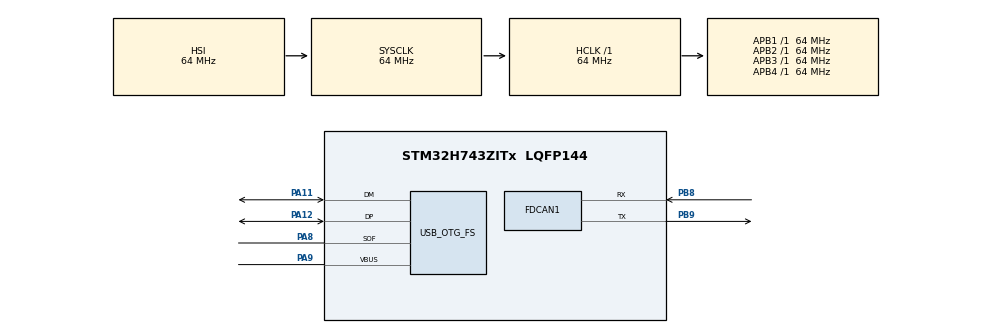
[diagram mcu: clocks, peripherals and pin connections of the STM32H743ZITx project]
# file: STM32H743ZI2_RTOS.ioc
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FDCAN1.AutoRetransmission=ENABLE
FDCAN1.DataPrescaler=2
FDCAN1.DataSyncJumpWidth=12
FDCAN1.DataTimeSeg1=12
FDCAN1.DataTimeSeg2=12
FDCAN1.FrameFormat=FDCAN_FRAME_CLASSIC
FDCAN1.Mode=FDCAN_MODE_NORMAL
FDCAN1.NominalPrescaler=1
FDCAN1.NominalSyncJumpWidth=13
FDCAN1.NominalTimeSeg1=174
FDCAN1.NominalTimeSeg2=25
FDCAN1.RxBufferSize=FDCAN_DATA_BYTES_12
FDCAN1.RxBuffersNbr=1
FDCAN1.RxFifo0ElmtsNbr=1
FDCAN1.StdFiltersNbr=1
FDCAN1.TxBuffersNbr=1
FDCAN1.TxElmtSize=FDCAN_DATA_BYTES_12
FDCAN1.TxEventsNbr=0
FREERTOS.Tasks01=defaultTask,24,128,StartDefaultTask,Default,NULL,Dynamic,NULL,NULL
FREERTOS.configUSE_NEWLIB_REENTRANT=1
Mcu.Family=STM32H7
Mcu.Name=STM32H743ZITx
Mcu.Package=LQFP144
NVIC.FDCAN1_IT0_IRQn=true\:5\:0\:false\:false\:true\:true\:true\:true\:true
NVIC.FDCAN1_IT1_IRQn=true\:5\:0\:false\:false\:true\:true\:true\:true\:true
NVIC.OTG_FS_IRQn=true\:5\:0\:false\:false\:true\:true\:false\:true\:true
NVIC.PriorityGroup=NVIC_PRIORITYGROUP_4
NVIC.TIM1_UP_IRQn=true\:15\:0\:false\:false\:true\:false\:false\:true\:true
NVIC.TimeBase=TIM1_UP_IRQn
NVIC.TimeBaseIP=TIM1
PA11.Mode=Device_Only
PA11.Signal=USB_OTG_FS_DM
PA12.Mode=Device_Only
PA12.Signal=USB_OTG_FS_DP
PA8.Mode=Activate_SOF_FS
PA8.Signal=USB_OTG_FS_SOF
PA9.Mode=Activate_VBUS
PA9.Signal=USB_OTG_FS_VBUS
PB8.GPIO_PuPd=GPIO_NOPULL
PB8.GPIO_Speed=GPIO_SPEED_FREQ_LOW
PB8.Mode=FDCAN_Activate
PB8.Signal=FDCAN1_RX
PB9.GPIO_PuPd=GPIO_NOPULL
PB9.GPIO_Speed=GPIO_SPEED_FREQ_LOW
PB9.Mode=FDCAN_Activate
PB9.Signal=FDCAN1_TX
ProjectManager.HeapSize=0x200
ProjectManager.StackSize=0x1000
ProjectManager.TargetToolchain=STM32CubeIDE
RCC.ADCFreq_Value=129000000
RCC.APB1Freq_Value=64000000
RCC.APB2Freq_Value=64000000
RCC.APB3Freq_Value=64000000
RCC.APB4Freq_Value=64000000
RCC.CortexFreq_Value=64000000
RCC.DIVM1=4
RCC.DIVN1=9
RCC.DIVQ1=3
RCC.HCLKFreq_Value=64000000
RCC.PLL2FRACN=0
RCC.PLL3FRACN=0
RCC.PLLFRACN=3072
RCC.PWR_Regulator_Voltage_Scale=PWR_REGULATOR_VOLTAGE_SCALE0
RCC.SYSCLKFreq_VALUE=64000000
RCC.USBCLockSelection=RCC_USBCLKSOURCE_HSI48
RCC.USBFreq_Value=48000000
USB_DEVICE.CLASS_NAME_FS=CDC
USB_DEVICE.VirtualMode-CDC_FS=Cdc
USB_DEVICE.VirtualModeFS=Cdc_FS
USB_OTG_FS.VirtualMode=Device_Only
VP_FREERTOS_VS_CMSIS_V2.Mode=CMSIS_V2
VP_SYS_VS_tim1.Mode=TIM1
VP_USB_DEVICE_VS_USB_DEVICE_CDC_FS.Mode=CDC_FS
board=custom

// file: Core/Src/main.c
/* USER CODE BEGIN Header */
/**
  ******************************************************************************
  * @file           : main.c
  * @brief          : Main program body
  ******************************************************************************
  * @attention
  *
  * <h2><center>&copy; Copyright (c) 2024 STMicroelectronics.
  * All rights reserved.</center></h2>
  *
  * This software component is licensed by ST under Ultimate Liberty license
  * SLA0044, the "License"; You may not use this file except in compliance with
  * the License. You may obtain a copy of the License at:
  *                             www.st.com/SLA0044
  *
  ******************************************************************************
  */
/* USER CODE END Header */
#include "main.h"
#include "cmsis_os.h"
#include "usb_device.h"
#include "usb_device.h"

/* USER CODE BEGIN Includes */
#include "usbd_cdc_if.h"
/* USER CODE END Includes */

FDCAN_HandleTypeDef hfdcan1;

/* Definitions for defaultTask */
osThreadId_t defaultTaskHandle;
const osThreadAttr_t defaultTask_attributes = {
  .name = "defaultTask",
  .stack_size = 128 * 4,
  .priority = (osPriority_t) osPriorityNormal,
};
/* USER CODE BEGIN PV */
FDCAN_FilterTypeDef sFilterConfig;
FDCAN_TxHeaderTypeDef TxHeader;
FDCAN_RxHeaderTypeDef RxHeader;
uint8_t TxData_Node1_To_Node2[] = {0x10, 0x32, 0x54, 0x76, 0x98, 0x00, 0x11, 0x22, 0x33, 0x44, 0x55, 0x66};
uint8_t RxData_From_Node2[12];
uint8_t RxData[16];
/* USER CODE END PV */

void SystemClock_Config(void);
static void MX_GPIO_Init(void);
static void MX_FDCAN1_Init(void);
void StartDefaultTask(void *argument);

int main(void)
{

  /* MCU Configuration--------------------------------------------------------*/

  /* Reset of all peripherals, Initializes the Flash interface and the Systick. */
  HAL_Init();

  /* Configure the system clock */
  SystemClock_Config();

  /* Initialize all configured peripherals */
  MX_GPIO_Init();
  MX_FDCAN1_Init();
  /* USER CODE BEGIN 2 */
  /* Configure Tx buffer message */
   TxHeader.Identifier = 0x1;
   TxHeader.IdType = FDCAN_STANDARD_ID;
   TxHeader.TxFrameType = FDCAN_DATA_FRAME;
   TxHeader.DataLength = FDCAN_DLC_BYTES_12;
   TxHeader.ErrorStateIndicator = FDCAN_ESI_ACTIVE;
   TxHeader.BitRateSwitch = FDCAN_BRS_ON;
   TxHeader.FDFormat = FDCAN_CLASSIC_CAN;
   TxHeader.TxEventFifoControl = FDCAN_NO_TX_EVENTS;
   TxHeader.MessageMarker = 0x0; // Ignore because FDCAN_NO_TX_EVENTS

   /* Configure standard ID reception filter to Rx buffer 0 */
   sFilterConfig.IdType = FDCAN_EXTENDED_ID;
   sFilterConfig.FilterIndex = 0;
   sFilterConfig.FilterType = FDCAN_FILTER_MASK;
   sFilterConfig.FilterConfig = FDCAN_FILTER_TO_RXFIFO0;
   sFilterConfig.FilterID1 = 0x0;
   sFilterConfig.FilterID2 = 0x0;
   if (HAL_FDCAN_ConfigFilter(&hfdcan1, &sFilterConfig) != HAL_OK)
     Error_Handler();
 //  if (HAL_FDCAN_ConfigGlobalFilter(&hfdcan1, FDCAN_REJECT, FDCAN_REJECT, FDCAN_FILTER_REMOTE, FDCAN_FILTER_REMOTE) != HAL_OK)
 //    Error_Handler();
   if (HAL_FDCAN_ActivateNotification(&hfdcan1, FDCAN_IT_RX_FIFO0_NEW_MESSAGE, 0) != HAL_OK)
     Error_Handler();

   /* Start the FDCAN module */
   if(HAL_FDCAN_Start(&hfdcan1) != HAL_OK)
 	  Error_Handler();
  /* USER CODE END 2 */

  /* Init scheduler */
  osKernelInitialize();

  /* Create the thread(s) */
  /* creation of defaultTask */
  defaultTaskHandle = osThreadNew(StartDefaultTask, NULL, &defaultTask_attributes);

  /* Start scheduler */
  osKernelStart();

  /* We should never get here as control is now taken by the scheduler */
  /* Infinite loop */
  while (1)
  {

  }
}

void SystemClock_Config(void)
{
  RCC_OscInitTypeDef RCC_OscInitStruct = {0};
  RCC_ClkInitTypeDef RCC_ClkInitStruct = {0};

  /** Supply configuration update enable
  */
  HAL_PWREx_ConfigSupply(PWR_LDO_SUPPLY);
  /** Configure the main internal regulator output voltage
  */
  __HAL_PWR_VOLTAGESCALING_CONFIG(PWR_REGULATOR_VOLTAGE_SCALE0);

  while(!__HAL_PWR_GET_FLAG(PWR_FLAG_VOSRDY)) {}
  /** Initializes the RCC Oscillators according to the specified parameters
  * in the RCC_OscInitTypeDef structure.
  */
  RCC_OscInitStruct.OscillatorType = RCC_OSCILLATORTYPE_HSI48|RCC_OSCILLATORTYPE_HSI;
  RCC_OscInitStruct.HSIState = RCC_HSI_DIV1;
  RCC_OscInitStruct.HSICalibrationValue = RCC_HSICALIBRATION_DEFAULT;
  RCC_OscInitStruct.HSI48State = RCC_HSI48_ON;
  RCC_OscInitStruct.PLL.PLLState = RCC_PLL_ON;
  RCC_OscInitStruct.PLL.PLLSource = RCC_PLLSOURCE_HSI;
  RCC_OscInitStruct.PLL.PLLM = 4;
  RCC_OscInitStruct.PLL.PLLN = 9;
  RCC_OscInitStruct.PLL.PLLP = 2;
  RCC_OscInitStruct.PLL.PLLQ = 3;
  RCC_OscInitStruct.PLL.PLLR = 2;
  RCC_OscInitStruct.PLL.PLLRGE = RCC_PLL1VCIRANGE_3;
  RCC_OscInitStruct.PLL.PLLVCOSEL = RCC_PLL1VCOMEDIUM;
  RCC_OscInitStruct.PLL.PLLFRACN = 3072;
  if (HAL_RCC_OscConfig(&RCC_OscInitStruct) != HAL_OK)
  {
    Error_Handler();
  }
  /** Initializes the CPU, AHB and APB buses clocks
  */
  RCC_ClkInitStruct.ClockType = RCC_CLOCKTYPE_HCLK|RCC_CLOCKTYPE_SYSCLK
                              |RCC_CLOCKTYPE_PCLK1|RCC_CLOCKTYPE_PCLK2
                              |RCC_CLOCKTYPE_D3PCLK1|RCC_CLOCKTYPE_D1PCLK1;
  RCC_ClkInitStruct.SYSCLKSource = RCC_SYSCLKSOURCE_HSI;
  RCC_ClkInitStruct.SYSCLKDivider = RCC_SYSCLK_DIV1;
  RCC_ClkInitStruct.AHBCLKDivider = RCC_HCLK_DIV1;
  RCC_ClkInitStruct.APB3CLKDivider = RCC_APB3_DIV1;
  RCC_ClkInitStruct.APB1CLKDivider = RCC_APB1_DIV1;
  RCC_ClkInitStruct.APB2CLKDivider = RCC_APB2_DIV1;
  RCC_ClkInitStruct.APB4CLKDivider = RCC_APB4_DIV1;

  if (HAL_RCC_ClockConfig(&RCC_ClkInitStruct, FLASH_LATENCY_0) != HAL_OK)
  {
    Error_Handler();
  }
}

static void MX_FDCAN1_Init(void)
{

  hfdcan1.Instance = FDCAN1;
  hfdcan1.Init.FrameFormat = FDCAN_FRAME_CLASSIC;
  hfdcan1.Init.Mode = FDCAN_MODE_NORMAL;
  hfdcan1.Init.AutoRetransmission = ENABLE;
  hfdcan1.Init.TransmitPause = DISABLE;
  hfdcan1.Init.ProtocolException = DISABLE;
  hfdcan1.Init.NominalPrescaler = 1;
  hfdcan1.Init.NominalSyncJumpWidth = 13;
  hfdcan1.Init.NominalTimeSeg1 = 174;
  hfdcan1.Init.NominalTimeSeg2 = 25;
  hfdcan1.Init.DataPrescaler = 2;
  hfdcan1.Init.DataSyncJumpWidth = 12;
  hfdcan1.Init.DataTimeSeg1 = 12;
  hfdcan1.Init.DataTimeSeg2 = 12;
  hfdcan1.Init.MessageRAMOffset = 0;
  hfdcan1.Init.StdFiltersNbr = 1;
  hfdcan1.Init.ExtFiltersNbr = 0;
  hfdcan1.Init.RxFifo0ElmtsNbr = 1;
  hfdcan1.Init.RxFifo0ElmtSize = FDCAN_DATA_BYTES_8;
  hfdcan1.Init.RxFifo1ElmtsNbr = 0;
  hfdcan1.Init.RxFifo1ElmtSize = FDCAN_DATA_BYTES_8;
  hfdcan1.Init.RxBuffersNbr = 1;
  hfdcan1.Init.RxBufferSize = FDCAN_DATA_BYTES_12;
  hfdcan1.Init.TxEventsNbr = 0;
  hfdcan1.Init.TxBuffersNbr = 1;
  hfdcan1.Init.TxFifoQueueElmtsNbr = 0;
  hfdcan1.Init.TxFifoQueueMode = FDCAN_TX_FIFO_OPERATION;
  hfdcan1.Init.TxElmtSize = FDCAN_DATA_BYTES_12;
  if (HAL_FDCAN_Init(&hfdcan1) != HAL_OK)
  {
    Error_Handler();
  }

}

static void MX_GPIO_Init(void)
{

  /* GPIO Ports Clock Enable */
  __HAL_RCC_GPIOA_CLK_ENABLE();
  __HAL_RCC_GPIOB_CLK_ENABLE();

}

/* USER CODE BEGIN 4 */
void CDC_ReceiveCallback(uint8_t *buf, uint32_t len)
{
	CDC_Transmit_FS(buf, len);
}
void HAL_FDCAN_RxFifo0Callback(FDCAN_HandleTypeDef *hfdcan, uint32_t RxFifo0ITs)
{
	 if((RxFifo0ITs & FDCAN_IT_RX_FIFO0_NEW_MESSAGE) != 0)
	  {
	    HAL_FDCAN_GetRxMessage(hfdcan, FDCAN_RX_FIFO0, &RxHeader, RxData);
	    	CDC_Transmit_FS(RxData, 8);
	  }
}
/* USER CODE END 4 */

void StartDefaultTask(void *argument)
{
  /* init code for USB_DEVICE */
  MX_USB_DEVICE_Init();
  /* USER CODE BEGIN 5 */
  TickType_t xLastWakeTime;
  xLastWakeTime = xTaskGetTickCount();
  /* Infinite loop */
  for(;;)
  {
    taskYIELD();
    vTaskDelayUntil(&xLastWakeTime, 1000);
  }
  /* USER CODE END 5 */
}

void HAL_TIM_PeriodElapsedCallback(TIM_HandleTypeDef *htim)
{
  if (htim->Instance == TIM1) {
    HAL_IncTick();
  }
}

void Error_Handler(void)
{
  __disable_irq();
  while (1)
  {
  }
}

/************************ (C) COPYRIGHT STMicroelectronics *****END OF FILE****/
